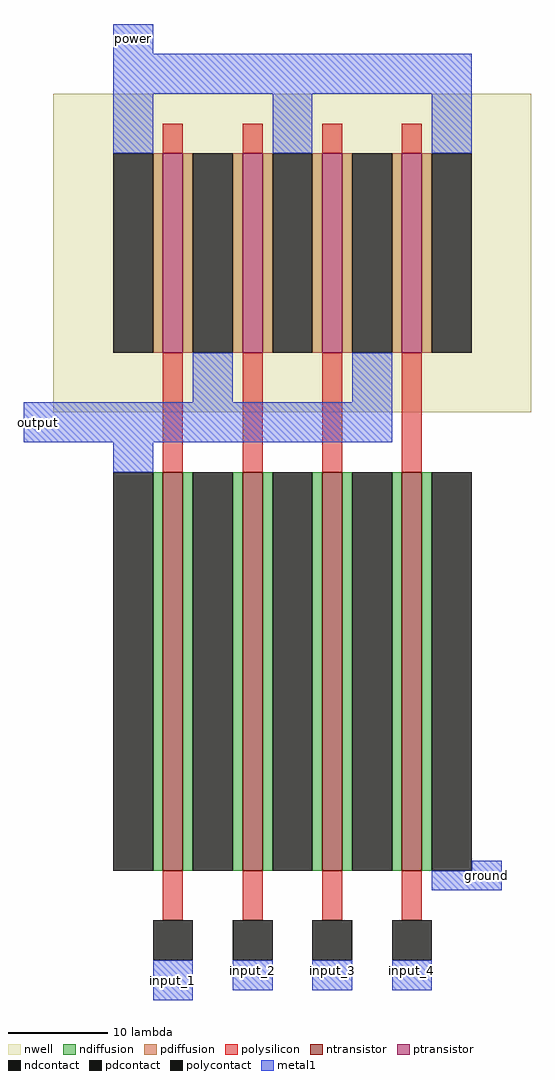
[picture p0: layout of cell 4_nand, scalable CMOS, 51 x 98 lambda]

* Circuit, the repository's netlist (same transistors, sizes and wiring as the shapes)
.include TSMC_180nm.txt

.param SUPPLY=1.8
.global gnd vdd

VDD vdd gnd SUPPLY
vinA A gnd PULSE(0 SUPPLY   10ns 1ps 1ps   10ns  20ns)
vinB B gnd PULSE(0 SUPPLY    5ns 1ps 1ps    5ns  10ns)
vinC C gnd PULSE(0 SUPPLY  2.5ns 1ps 1ps  2.5ns   5ns)
vinD D gnd PULSE(0 SUPPLY 1.25ns 1ps 1ps 1.25ns 2.5ns)

.option scale=90n

M1000 gnd D a_1_n57# Gnd CMOSN w=40 l=2
+  ad=0.2n pd=90u as=0.12n ps=46u
M1001 vdd B output w_n28_n11# CMOSP w=20 l=2
+  ad=60p pd=26u as=60p ps=26u
M1002 vdd D output w_n28_n11# CMOSP w=20 l=2
+  ad=100p pd=50u as=60p ps=26u
M1003 output C vdd w_n28_n11# CMOSP w=20 l=2
+  ad=60p pd=26u as=60p ps=26u
M1004 output A vdd w_n28_n11# CMOSP w=20 l=2
+  ad=60p pd=26u as=100p ps=50u
M1005 a_n7_n57# B a_n15_n57# Gnd CMOSN w=40 l=2
+  ad=0.12n pd=46u as=0.12n ps=46u
M1006 a_1_n57# C a_n7_n57# Gnd CMOSN w=40 l=2
+  ad=0.12n pd=46u as=0.12n ps=46u
M1007 a_n15_n57# A output Gnd CMOSN w=40 l=2
+  ad=0.12n pd=46u as=0.2n ps=90u

.tran 1n 20n 

.control
  run
  set curplottitle="2024102023_4_NAND"
  * Plot output, and inputs shifted for visibility
  plot  v(A) v(B)+3 v(C)+6 v(D)+9 v(output)+12
.endc

.end

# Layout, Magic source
magic
tech scmos
<< nwell >>
rect -28 -11 20 21
<< ntransistor >>
rect -17 -57 -15 -17
rect -9 -57 -7 -17
rect -1 -57 1 -17
rect 7 -57 9 -17
<< ptransistor >>
rect -17 -5 -15 15
rect -9 -5 -7 15
rect -1 -5 1 15
rect 7 -5 9 15
<< ndiffusion >>
rect -18 -57 -17 -17
rect -15 -57 -14 -17
rect -10 -57 -9 -17
rect -7 -57 -6 -17
rect -2 -57 -1 -17
rect 1 -57 2 -17
rect 6 -57 7 -17
rect 9 -57 10 -17
<< pdiffusion >>
rect -18 -5 -17 15
rect -15 -5 -14 15
rect -10 -5 -9 15
rect -7 -5 -6 15
rect -2 -5 -1 15
rect 1 -5 2 15
rect 6 -5 7 15
rect 9 -5 10 15
<< ndcontact >>
rect -22 -57 -18 -17
rect -14 -57 -10 -17
rect -6 -57 -2 -17
rect 2 -57 6 -17
rect 10 -57 14 -17
<< pdcontact >>
rect -22 -5 -18 15
rect -14 -5 -10 15
rect -6 -5 -2 15
rect 2 -5 6 15
rect 10 -5 14 15
<< polysilicon >>
rect -17 15 -15 18
rect -9 15 -7 18
rect -1 15 1 18
rect 7 15 9 18
rect -17 -17 -15 -5
rect -9 -17 -7 -5
rect -1 -17 1 -5
rect 7 -17 9 -5
rect -17 -62 -15 -57
rect -9 -62 -7 -57
rect -1 -62 1 -57
rect 7 -62 9 -57
<< polycontact >>
rect -18 -66 -14 -62
rect -10 -66 -6 -62
rect -2 -66 2 -62
rect 6 -66 10 -62
<< metal1 >>
rect -22 25 -18 28
rect -22 21 14 25
rect -22 15 -18 21
rect -6 15 -2 21
rect 10 15 14 21
rect -14 -10 -10 -5
rect 2 -10 6 -5
rect -31 -14 6 -10
rect -22 -17 -18 -14
rect 14 -57 17 -56
rect 10 -59 17 -57
rect -18 -70 -14 -66
rect -10 -69 -6 -66
rect -2 -69 2 -66
rect 6 -69 10 -66
<< labels >>
rlabel metal1 -22 25 -18 28 5 power
rlabel metal1 -31 -14 -28 -10 3 output
rlabel metal1 -18 -70 -14 -66 1 input_1
rlabel metal1 -10 -69 -6 -65 1 input_2
rlabel metal1 -2 -69 2 -65 1 input_3
rlabel metal1 6 -69 10 -65 1 input_4
rlabel metal1 14 -59 17 -56 7 ground
<< end >>
